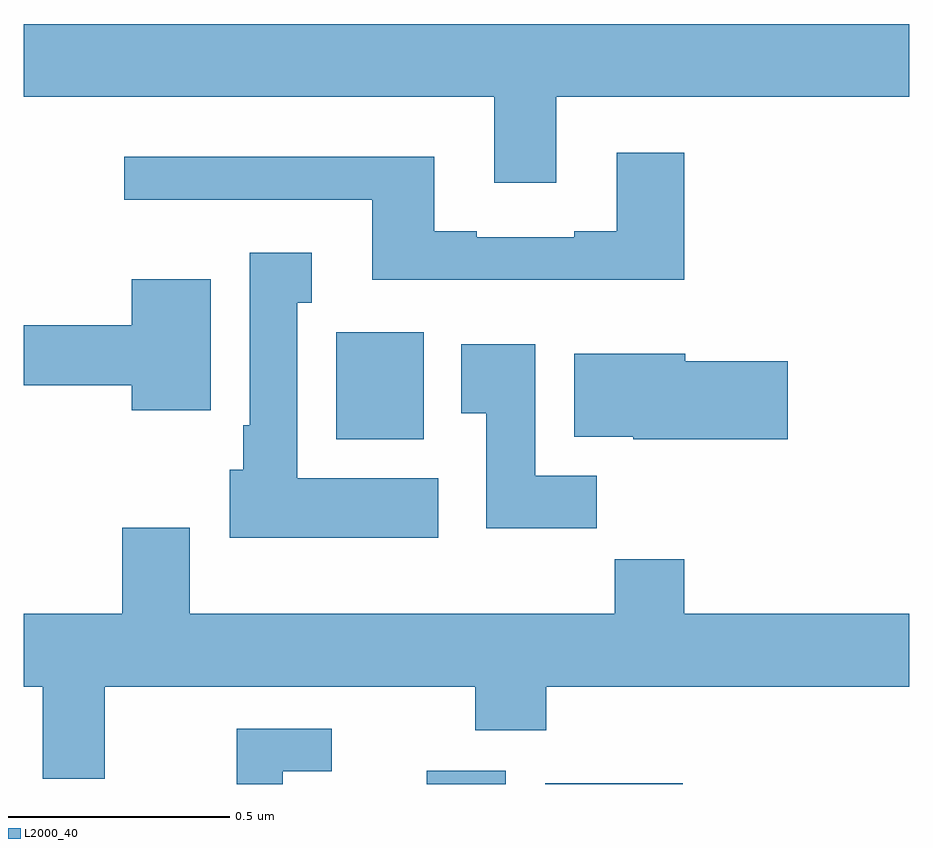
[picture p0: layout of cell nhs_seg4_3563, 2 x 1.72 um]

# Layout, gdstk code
import gdstk
lib = gdstk.Library(unit=1e-6, precision=1e-09)
def R(c, l, rs):  # rectangles x0, y0, x1, y1
    for r in rs: c.add(gdstk.rectangle(r[:2], r[2:], *l))
def P(c, l, *ps):  # polygons
    for p in ps: c.add(gdstk.Polygon(p, *l))
L2000_40 = (2000, 40)

nhs_seg4_3563 = lib.new_cell('nhs_seg4_3563')
R(nhs_seg4_3563, L2000_40, [(154.91,829.9,155.089,829.93), (155.178,829.9,155.488,829.902), (154.706,830.678,154.903,830.92)])
P(nhs_seg4_3563, L2000_40, [(155.203,831.452),(156,831.452),(156,831.616),(154,831.616),(154,831.452),(155.063,831.452),(155.063,831.258),(155.203,831.258)],
  [(155.492,831.325),(155.339,831.325),(155.339,831.148),(155.243,831.148),(155.243,831.135),(155.023,831.135),(155.023,831.148),(154.927,831.148),(154.927,831.316),(154.227,831.316),(154.227,831.219),(154.787,831.219),(154.787,831.038),(155.492,831.038)],
  [(154.936,830.59),(154.618,830.59),(154.618,830.987),(154.651,830.987),(154.651,831.1),(154.511,831.1),(154.511,830.71),(154.496,830.71),(154.496,830.61),(154.466,830.61),(154.466,830.456),(154.936,830.456)],
  [(154.423,831.04),(154.244,831.04),(154.244,830.936),(154,830.936),(154,830.8),(154.244,830.8),(154.244,830.744),(154.423,830.744)],
  [(155.294,830.596),(155.155,830.596),(155.155,830.893),(154.988,830.893),(154.988,830.737),(155.045,830.737),(155.045,830.478),(155.294,830.478)],
  [(155.725,830.855),(155.494,830.855),(155.494,830.872),(155.243,830.872),(155.243,830.684),(155.376,830.684),(155.376,830.678),(155.725,830.678)],
  [(154.183,830.12),(155.02,830.12),(155.02,830.021),(155.18,830.021),(155.18,830.12),(156,830.12),(156,830.284),(155.492,830.284),(155.492,830.408),(155.335,830.408),(155.335,830.284),(154.375,830.284),(154.375,830.479),(154.223,830.479),(154.223,830.284),(154,830.284),(154,830.12),(154.043,830.12),(154.043,829.912),(154.183,829.912)],
  [(154.585,829.929),(154.696,829.929),(154.696,830.025),(154.481,830.025),(154.481,829.9),(154.585,829.9)])

lib.write_gds('nhs_seg4_3563.gds')
